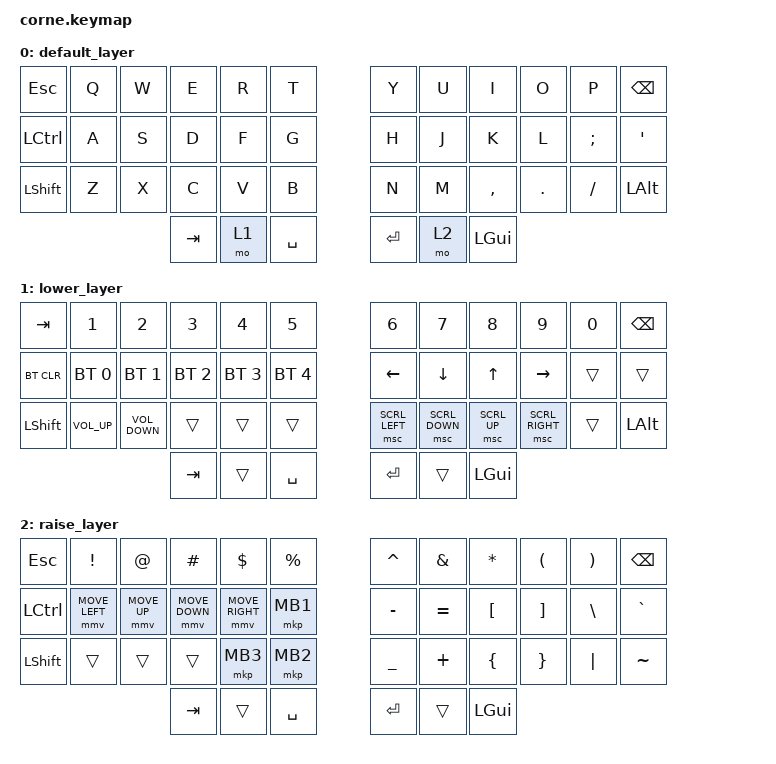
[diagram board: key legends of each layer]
/*
 * Copyright (c) 2020 The ZMK Contributors
 *
 * SPDX-License-Identifier: MIT
 */

#include <behaviors.dtsi>
#include <dt-bindings/zmk/bt.h>
#include <dt-bindings/zmk/keys.h>
#include <dt-bindings/zmk/pointing.h>

/ {
    macros {
        SuperU: SuperU {
            compatible = "zmk,behavior-macro";
            #binding-cells = <0>;
            bindings =
                <&macro_tap_time 40>,
                <&kp LEFT_GUI>,
                <&macro_tap>,
                <&kp U>;

            label = "SUPERU";
        };

        SuperShiftEnter: SuperShiftEnter {
            compatible = "zmk,behavior-macro";
            #binding-cells = <0>;
            bindings =
                <&macro_tap_time 50>,
                <&kp LEFT_GUI>,
                <&macro_tap_time 50>,
                <&kp LEFT_SHIFT>,
                <&macro_tap>,
                <&kp ENTER>;

            label = "SUPERSHIFTENTER";
        };

        clipboard: clipboard {
            compatible = "zmk,behavior-macro";
            #binding-cells = <0>;
            bindings =
                <&macro_tap_time 40>,
                <&kp LGUI>,
                <&macro_tap_time 40>,
                <&kp LEFT_ALT>,
                <&macro_press>,
                <&kp V>;

            label = "CLIPBOARD";
        };

        copy_whole_file_nvim: copy_whole_file_nvim {
            compatible = "zmk,behavior-macro";
            #binding-cells = <0>;
            bindings =
                <&macro_tap>,
                <&kp G>,
                <&macro_tap>,
                <&kp G>,
                <&macro_tap>,
                <&kp CARET>,
                <&macro_tap>,
                <&kp V>,
                <&macro_tap>,
                <&kp LS(G)>,
                <&macro_tap>,
                <&kp DOLLAR>,
                <&macro_tap_time 50>,
                <&kp SPACE>,
                <&macro_tap>,
                <&kp Y>;

            label = "COPY_WHOLE_FILE_NVIM";
        };

        clipboard_clear: clipboard_clear {
            compatible = "zmk,behavior-macro";
            #binding-cells = <0>;
            bindings =
                <&macro_tap_time 40>,
                <&kp LGUI>,
                <&macro_tap_time 40>,
                <&kp LEFT_ALT>,
                <&macro_press>,
                <&kp V>,
                <&macro_tap_time 40>,
                <&kp LEFT_ALT>,
                <&macro_tap>,
                <&kp DEL>;

            label = "CLIPBOARD_CLEAR";
        };
    };

    combos {
        compatible = "zmk,combos";

        caps {
            bindings = <&kp CAPSLOCK>;
            key-positions = <0 11>;
        };
    };

    keymap {
        compatible = "zmk,keymap";

        default_layer {
            // -----------------------------------------------------------------------------------------
            // |  TAB |  Q  |  W  |  E  |  R  |  T  |   |  Y  |  U   |  I  |  O  |  P  | BKSP |
            // | CTRL |  A  |  S  |  D  |  F  |  G  |   |  H  |  J   |  K  |  L  |  ;  |  '   |
            // | SHFT |  Z  |  X  |  C  |  V  |  B  |   |  N  |  M   |  ,  |  .  |  /  | ESC  |
            //                    | GUI | LWR | SPC |   | ENT | RSE  | ALT |

            bindings = <
&kp ESCAPE  &kp Q  &kp W  &kp E    &kp R  &kp T        &kp Y    &kp U  &kp I      &kp O    &kp P     &kp BSPC
&kp LCTRL   &kp A  &kp S  &kp D    &kp F  &kp G        &kp H    &kp J  &kp K      &kp L    &kp SEMI  &kp SQT
&kp LSHFT   &kp Z  &kp X  &kp C    &kp V  &kp B        &kp N    &kp M  &kp COMMA  &kp DOT  &kp FSLH  &kp LEFT_ALT
                          &kp TAB  &mo 1  &kp SPACE    &kp RET  &mo 2  &kp LGUI
            >;
        };

        lower_layer {
            // -----------------------------------------------------------------------------------------
            // |  TAB |  1  |  2  |  3  |  4  |  5  |   |  6  |  7  |  8  |  9  |  0  | BKSP |
            // | BTCLR| BT1 | BT2 | BT3 | BT4 | BT5 |   | LFT | DWN |  UP | RGT |     |      |
            // | SHFT |     |     |     |     |     |   |     |     |     |     |     |      |
            //                    | GUI |     | SPC |   | ENT |     | ALT |

            bindings = <
&kp TAB     &kp N1           &kp N2             &kp N3        &kp N4        &kp N5          &kp N6          &kp N7          &kp N8        &kp N9           &kp N0  &kp BSPC
&bt BT_CLR  &bt BT_SEL 0     &bt BT_SEL 1       &bt BT_SEL 2  &bt BT_SEL 3  &bt BT_SEL 4    &kp LEFT        &kp DOWN        &kp UP        &kp RIGHT        &trans  &trans
&kp LSHFT   &kp C_VOLUME_UP  &kp C_VOLUME_DOWN  &trans        &trans        &trans          &msc SCRL_LEFT  &msc SCRL_DOWN  &msc SCRL_UP  &msc SCRL_RIGHT  &trans  &kp LEFT_ALT
                                                &kp TAB       &trans        &kp SPACE       &kp RET         &trans          &kp LGUI
            >;
        };

        raise_layer {
            // -----------------------------------------------------------------------------------------
            // |  TAB |  !  |  @  |  #  |  $  |  %  |   |  ^  |  &  |  *  |  (  |  )  | BKSP |
            // | CTRL |     |     |     |     |     |   |  -  |  =  |  [  |  ]  |  \  |  `   |
            // | SHFT |     |     |     |     |     |   |  _  |  +  |  {  |  }  | "|" |  ~   |
            //                    | GUI |     | SPC |   | ENT |     | ALT |

            bindings = <
&kp ESCAPE  &kp EXCL        &kp AT        &kp HASH        &kp DLLR         &kp PRCNT    &kp CARET  &kp AMPS   &kp ASTRK  &kp LPAR  &kp RPAR  &kp BSPC
&kp LCTRL   &mmv MOVE_LEFT  &mmv MOVE_UP  &mmv MOVE_DOWN  &mmv MOVE_RIGHT  &mkp MB1     &kp MINUS  &kp EQUAL  &kp LBKT   &kp RBKT  &kp BSLH  &kp GRAVE
&kp LSHFT   &trans          &trans        &trans          &mkp MB3         &mkp MB2     &kp UNDER  &kp PLUS   &kp LBRC   &kp RBRC  &kp PIPE  &kp TILDE
                                          &kp TAB         &trans           &kp SPACE    &kp RET    &trans     &kp LGUI
            >;
        };
    };
};
